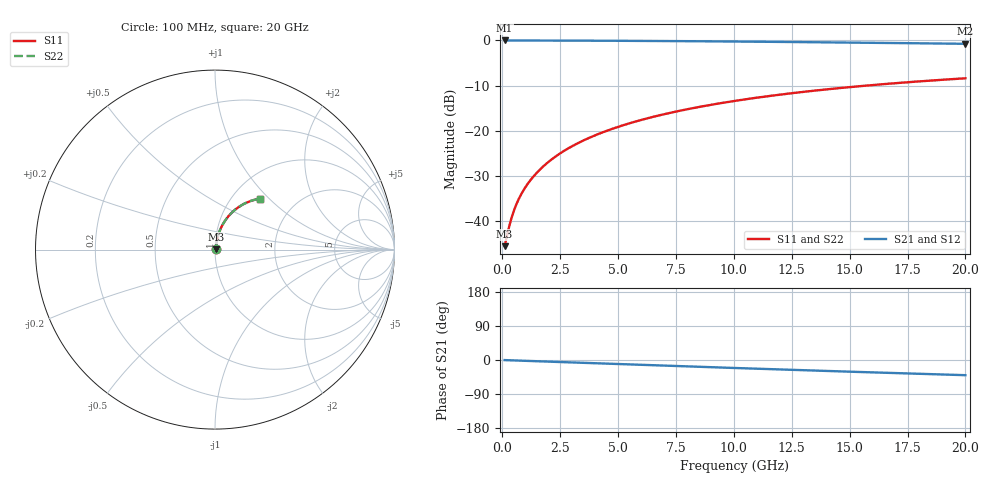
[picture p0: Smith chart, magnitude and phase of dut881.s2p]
! Touchstone file exported from HFSS 2026.1.0
!  File:  C:/ffzhzh/LocalFiles/Ansys_Project_Files/temp_train_TMRDL_881_1783157483_55132.aedt
!  Generated:  05:32:34 PM Jul  4, 2026
!  Design:  TMRDL
!  Project:  temp_train_TMRDL_881_1783157483_55132
! Variables:
!  h_bsmrdl = 2um
!  h_ox = 20um
!  h_rdl = 5um
!  h_sub = 80um
!  h_tmrdl = 2.08um
!  h_tsv = 80um
!  h_via = 3um
!  l_bsmrdl = 300um
!  l_sub = 963.05um
!  l_tmrdl = 563.05um
!  m_sub = 200um
!  pitch = 47.37um
!  r_tsv = 6um
!  s_tmrdl = 10um
!  w_bsmrdl = 18um
!  w_sub = 500um
!  w_tmrdl = 21.78um
!  x_tsv_center1 = 573.94um
!  x_tsv_center2 = 891.94um
!  x_tsv_center3 = 1476.77um
!  x_tsv_center4 = 1794.77um
!  x_tsv_center5 = 2379.6um
!  x_tsv_center6 = 2697.6um
# GHz S MA R 50.000000
! Terminal data exported
! Port[1] = TM_RDL1_1_T1
! Port[2] = TM_RDL1_1_T2
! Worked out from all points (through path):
!   200 points, 100 MHz to 20 GHz, reference 50 ohm
!   highest |S21| = -0.04 dB at 100 MHz (marker M1); lowest = -0.8 dB at 20 GHz (marker M2)
!   group delay of S21, straight-line fit = 5.58 ps
!   lowest |S11| = -45.5 dB at 100 MHz (marker M3), VSWR 1.01, Z = 50.5 + j0.248 ohm
!   |S11| at or under -10 dB: start of sweep to 15.75 GHz
!   |S22| runs from -45.5 to -8.4 dB; largest |S21 - S12| = 2.2e-15
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0.1  0.005319 27.5  0.9953 -0.2  0.9953 -0.2  0.005319 27.5
! Gamma 0 0 0 0
! Port Impedance 50 0 50 0
0.3  0.008845 55.3  0.995 -0.7  0.995 -0.7  0.008845 55.3
0.4  0.01095 61.3  0.9948 -0.9  0.9948 -0.9  0.01095 61.3
0.5  0.0131 65.2  0.9947 -1.1  0.9947 -1.1  0.0131 65.2
0.6  0.01525 67.8  0.9945 -1.3  0.9945 -1.3  0.01525 67.8
0.7  0.01741 69.8  0.9943 -1.5  0.9943 -1.5  0.01741 69.8
0.9  0.02171 72.6  0.994 -2.0  0.994 -2.0  0.02171 72.6
1.2  0.02816 75.0  0.9936 -2.6  0.9936 -2.6  0.02816 75.0
1.4  0.03247 76.1  0.9934 -3.0  0.9934 -3.0  0.03247 76.1
1.7  0.03896 77.1  0.993 -3.7  0.993 -3.7  0.03896 77.1
2.2  0.04983 77.9  0.9924 -4.7  0.9924 -4.7  0.04983 77.9
2.8  0.0629 78.0  0.9915 -6.0  0.9915 -6.0  0.0629 78.1
3.5  0.07814 77.6  0.9903 -7.5  0.9903 -7.5  0.07814 77.6
4.2  0.09331 76.9  0.9889 -9.0  0.9889 -9.0  0.09331 76.9
5  0.1105 75.7  0.987 -10.7  0.987 -10.7  0.1105 75.7
5.9  0.1297 74.3  0.9844 -12.5  0.9844 -12.5  0.1297 74.3
6.8  0.1486 72.7  0.9816 -14.4  0.9816 -14.4  0.1486 72.7
8.3  0.1794 70.0  0.976 -17.5  0.976 -17.5  0.1794 70.0
10.1  0.2151 66.6  0.9684 -21.2  0.9684 -21.2  0.2151 66.6
13.4  0.2763 60.4  0.9519 -27.7  0.9519 -27.7  0.2763 60.4
16.7  0.3314 54.2  0.9335 -34.0  0.9335 -34.0  0.3314 54.3
20  0.3802 48.3  0.9142 -40.1  0.9142 -40.1  0.3802 48.4
